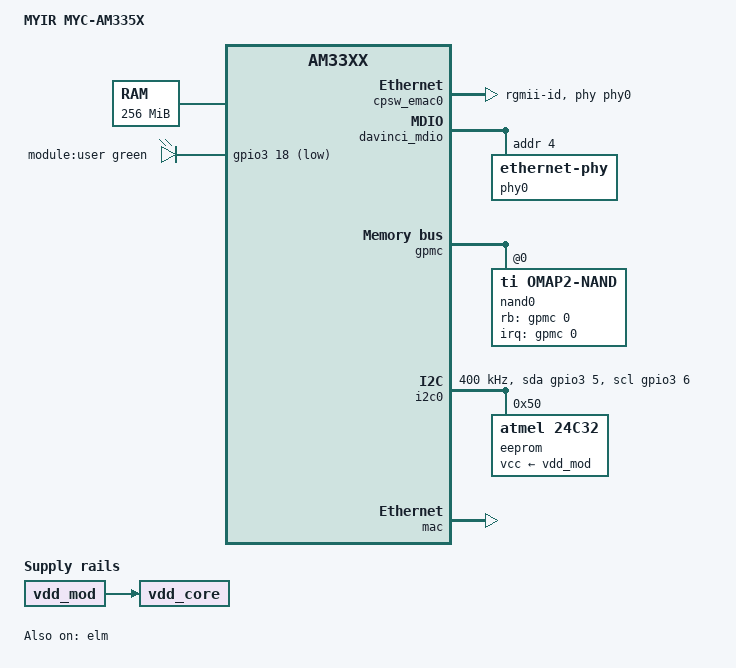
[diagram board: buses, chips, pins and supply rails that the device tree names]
// SPDX-License-Identifier: GPL-2.0-or-later
/* SPDX-FileCopyrightText: Alexander Shiyan, <shc_work@mail.ru> */

/* Based on code by myc_c335x.dts, MYiRtech.com */
/* Copyright (C) 2012 Texas Instruments Incorporated - http://www.ti.com/ */

/dts-v1/;

#include "am33xx.dtsi"

#include <dt-bindings/interrupt-controller/irq.h>
#include <dt-bindings/leds/common.h>

/ {
	model = "MYIR MYC-AM335X";
	compatible = "myir,myc-am335x", "ti,am33xx";

	cpus {
		cpu@0 {
			cpu0-supply = <&vdd_core>;
			voltage-tolerance = <2>;
		};
	};

	memory@80000000 {
		device_type = "memory";
		reg = <0x80000000 0x10000000>;
	};

	vdd_mod: vdd_mod_reg {
		compatible = "regulator-fixed";
		regulator-name = "vdd-mod";
		regulator-always-on;
		regulator-boot-on;
	};

	vdd_core: vdd_core_reg {
		compatible = "regulator-fixed";
		regulator-name = "vdd-core";
		regulator-always-on;
		regulator-boot-on;
		vin-supply = <&vdd_mod>;
	};

	leds: leds {
		compatible = "gpio-leds";
		pinctrl-names = "default";
		pinctrl-0 = <&led_mod_pins>;

		led_mod: led_mod {
			label = "module:user";
			gpios = <&gpio3 18 GPIO_ACTIVE_LOW>;
			color = <LED_COLOR_ID_GREEN>;
			default-state = "off";
			panic-indicator;
		};
	};
};

&cpsw_emac0 {
	phy-handle = <&phy0>;
	phy-mode = "rgmii-id";
};

&davinci_mdio {
	pinctrl-names = "default", "sleep";
	pinctrl-0 = <&mdio_pins_default>;
	pinctrl-1 = <&mdio_pins_sleep>;
	status = "okay";

	phy0: ethernet-phy@4 {
		reg = <4>;
	};
};

&elm {
	status = "okay";
};

&gpmc {
	pinctrl-names = "default", "sleep";
	pinctrl-0 = <&nand_pins_default>;
	pinctrl-1 = <&nand_pins_sleep>;
	ranges = <0 0 0x8000000 0x1000000>;
	status = "okay";

	nand0: nand@0,0 {
		compatible = "ti,omap2-nand";
		reg = <0 0 4>;
		interrupt-parent = <&gpmc>;
		interrupts = <0 IRQ_TYPE_NONE>, <1 IRQ_TYPE_NONE>;
		nand-bus-width = <8>;
		rb-gpios = <&gpmc 0 GPIO_ACTIVE_HIGH>;
		gpmc,device-width = <1>;
		gpmc,sync-clk-ps = <0>;
		gpmc,cs-on-ns = <0>;
		gpmc,cs-rd-off-ns = <44>;
		gpmc,cs-wr-off-ns = <44>;
		gpmc,adv-on-ns = <6>;
		gpmc,adv-rd-off-ns = <34>;
		gpmc,adv-wr-off-ns = <44>;
		gpmc,we-on-ns = <0>;
		gpmc,we-off-ns = <40>;
		gpmc,oe-on-ns = <0>;
		gpmc,oe-off-ns = <54>;
		gpmc,access-ns = <64>;
		gpmc,rd-cycle-ns = <82>;
		gpmc,wr-cycle-ns = <82>;
		gpmc,bus-turnaround-ns = <0>;
		gpmc,cycle2cycle-delay-ns = <0>;
		gpmc,clk-activation-ns = <0>;
		gpmc,wr-access-ns = <40>;
		gpmc,wr-data-mux-bus-ns = <0>;
		ti,elm-id = <&elm>;
		ti,nand-ecc-opt = "bch8";

		#address-cells = <1>;
		#size-cells = <1>;
	};
};

&i2c0 {
	pinctrl-names = "default", "gpio", "sleep";
	pinctrl-0 = <&i2c0_pins_default>;
	pinctrl-1 = <&i2c0_pins_gpio>;
	pinctrl-2 = <&i2c0_pins_sleep>;
	clock-frequency = <400000>;
	scl-gpios = <&gpio3 6 (GPIO_ACTIVE_HIGH | GPIO_OPEN_DRAIN)>;
	sda-gpios = <&gpio3 5 (GPIO_ACTIVE_HIGH | GPIO_OPEN_DRAIN)>;
	status = "okay";

	eeprom: eeprom@50 {
		compatible = "atmel,24c32";
		reg = <0x50>;
		pagesize = <32>;
		vcc-supply = <&vdd_mod>;
	};
};

&mac {
	pinctrl-names = "default", "sleep";
	pinctrl-0 = <&eth_slave1_pins_default>;
	pinctrl-1 = <&eth_slave1_pins_sleep>;
	slaves = <1>;
	status = "okay";
};

&rtc {
	system-power-controller;
};

&am33xx_pinmux {
	mdio_pins_default: pinmux_mdio_pins_default {
		pinctrl-single,pins = <
			AM33XX_PADCONF(AM335X_PIN_MDIO, PIN_INPUT_PULLUP | SLEWCTRL_FAST, MUX_MODE0)	/* mdio_data */
			AM33XX_PADCONF(AM335X_PIN_MDC, PIN_OUTPUT_PULLUP, MUX_MODE0)			/* mdio_clk */
		>;
	};

	mdio_pins_sleep: pinmux_mdio_pins_sleep {
		pinctrl-single,pins = <
			AM33XX_PADCONF(AM335X_PIN_MDIO, PIN_INPUT_PULLDOWN, MUX_MODE7)
			AM33XX_PADCONF(AM335X_PIN_MDC, PIN_INPUT_PULLDOWN, MUX_MODE7)
		>;
	};

	eth_slave1_pins_default: pinmux_eth_slave1_pins_default {
		pinctrl-single,pins = <
			AM33XX_PADCONF(AM335X_PIN_MII1_TX_EN, PIN_OUTPUT_PULLDOWN, MUX_MODE2)		/* rgmii1_tctl */
			AM33XX_PADCONF(AM335X_PIN_MII1_RX_DV, PIN_INPUT_PULLDOWN, MUX_MODE2)		/* rgmii1_rctl */
			AM33XX_PADCONF(AM335X_PIN_MII1_TXD3, PIN_OUTPUT_PULLDOWN, MUX_MODE2)		/* rgmii1_td3 */
			AM33XX_PADCONF(AM335X_PIN_MII1_TXD2, PIN_OUTPUT_PULLDOWN, MUX_MODE2)		/* rgmii1_td2 */
			AM33XX_PADCONF(AM335X_PIN_MII1_TXD1, PIN_OUTPUT_PULLDOWN, MUX_MODE2)		/* rgmii1_td1 */
			AM33XX_PADCONF(AM335X_PIN_MII1_TXD0, PIN_OUTPUT_PULLDOWN, MUX_MODE2)		/* rgmii1_td0 */
			AM33XX_PADCONF(AM335X_PIN_MII1_TX_CLK, PIN_OUTPUT_PULLDOWN, MUX_MODE2)		/* rgmii1_tclk */
			AM33XX_PADCONF(AM335X_PIN_MII1_RX_CLK, PIN_INPUT_PULLDOWN, MUX_MODE2)		/* rgmii1_rclk */
			AM33XX_PADCONF(AM335X_PIN_MII1_RXD3, PIN_INPUT_PULLDOWN, MUX_MODE2)		/* rgmii1_rd3 */
			AM33XX_PADCONF(AM335X_PIN_MII1_RXD2, PIN_INPUT_PULLDOWN, MUX_MODE2)		/* rgmii1_rd2 */
			AM33XX_PADCONF(AM335X_PIN_MII1_RXD1, PIN_INPUT_PULLDOWN, MUX_MODE2)		/* rgmii1_rd1 */
			AM33XX_PADCONF(AM335X_PIN_MII1_RXD0, PIN_INPUT_PULLDOWN, MUX_MODE2)		/* rgmii1_rd0 */
		>;
	};

	eth_slave1_pins_sleep: pinmux_eth_slave1_pins_sleep {
		pinctrl-single,pins = <
			AM33XX_PADCONF(AM335X_PIN_MII1_TX_EN, PIN_INPUT_PULLDOWN, MUX_MODE7)
			AM33XX_PADCONF(AM335X_PIN_MII1_RX_DV, PIN_INPUT_PULLDOWN, MUX_MODE7)
			AM33XX_PADCONF(AM335X_PIN_MII1_TXD3, PIN_INPUT_PULLDOWN, MUX_MODE7)
			AM33XX_PADCONF(AM335X_PIN_MII1_TXD2, PIN_INPUT_PULLDOWN, MUX_MODE7)
			AM33XX_PADCONF(AM335X_PIN_MII1_TXD1, PIN_INPUT_PULLDOWN, MUX_MODE7)
			AM33XX_PADCONF(AM335X_PIN_MII1_TXD0, PIN_INPUT_PULLDOWN, MUX_MODE7)
			AM33XX_PADCONF(AM335X_PIN_MII1_TX_CLK, PIN_INPUT_PULLDOWN, MUX_MODE7)
			AM33XX_PADCONF(AM335X_PIN_MII1_RX_CLK, PIN_INPUT_PULLDOWN, MUX_MODE7)
			AM33XX_PADCONF(AM335X_PIN_MII1_RXD3, PIN_INPUT_PULLDOWN, MUX_MODE7)
			AM33XX_PADCONF(AM335X_PIN_MII1_RXD2, PIN_INPUT_PULLDOWN, MUX_MODE7)
			AM33XX_PADCONF(AM335X_PIN_MII1_RXD1, PIN_INPUT_PULLDOWN, MUX_MODE7)
			AM33XX_PADCONF(AM335X_PIN_MII1_RXD0, PIN_INPUT_PULLDOWN, MUX_MODE7)
		>;
	};

	i2c0_pins_default: pinmux_i2c0_pins_default {
		pinctrl-single,pins = <
			AM33XX_PADCONF(AM335X_PIN_I2C0_SDA, PIN_INPUT | SLEWCTRL_FAST, MUX_MODE0)	/* I2C0_SDA */
			AM33XX_PADCONF(AM335X_PIN_I2C0_SCL, PIN_INPUT | SLEWCTRL_FAST, MUX_MODE0)	/* I2C0_SCL */
		>;
	};

	i2c0_pins_gpio: pinmux_i2c0_pins_gpio {
		pinctrl-single,pins = <
			AM33XX_PADCONF(AM335X_PIN_I2C0_SDA, PIN_INPUT, MUX_MODE7)			/* gpio3[5] */
			AM33XX_PADCONF(AM335X_PIN_I2C0_SCL, PIN_INPUT, MUX_MODE7)			/* gpio3[6] */
		>;
	};

	i2c0_pins_sleep: pinmux_i2c0_pins_sleep {
		pinctrl-single,pins = <
			AM33XX_PADCONF(AM335X_PIN_I2C0_SDA, PIN_INPUT_PULLDOWN, MUX_MODE7)
			AM33XX_PADCONF(AM335X_PIN_I2C0_SCL, PIN_INPUT_PULLDOWN, MUX_MODE7)
		>;
	};

	led_mod_pins: pinmux_led_mod_pins {
		pinctrl-single,pins = <
			AM33XX_PADCONF(AM335X_PIN_MCASP0_ACLKR, PIN_OUTPUT_PULLDOWN, MUX_MODE7)		/* gpio3[18] */
		>;
	};

	nand_pins_default: pinmux_nand_pins_default {
		pinctrl-single,pins = <
			AM33XX_PADCONF(AM335X_PIN_GPMC_AD0, PIN_INPUT_PULLUP, MUX_MODE0)		/* gpmc_ad0 */
			AM33XX_PADCONF(AM335X_PIN_GPMC_AD1, PIN_INPUT_PULLUP, MUX_MODE0)		/* gpmc_ad1 */
			AM33XX_PADCONF(AM335X_PIN_GPMC_AD2, PIN_INPUT_PULLUP, MUX_MODE0)		/* gpmc_ad2 */
			AM33XX_PADCONF(AM335X_PIN_GPMC_AD3, PIN_INPUT_PULLUP, MUX_MODE0)		/* gpmc_ad3 */
			AM33XX_PADCONF(AM335X_PIN_GPMC_AD4, PIN_INPUT_PULLUP, MUX_MODE0)		/* gpmc_ad4 */
			AM33XX_PADCONF(AM335X_PIN_GPMC_AD5, PIN_INPUT_PULLUP, MUX_MODE0)		/* gpmc_ad5 */
			AM33XX_PADCONF(AM335X_PIN_GPMC_AD6, PIN_INPUT_PULLUP, MUX_MODE0)		/* gpmc_ad6 */
			AM33XX_PADCONF(AM335X_PIN_GPMC_AD7, PIN_INPUT_PULLUP, MUX_MODE0)		/* gpmc_ad7 */
			AM33XX_PADCONF(AM335X_PIN_GPMC_WAIT0, PIN_INPUT_PULLUP, MUX_MODE0)		/* gpmc_wait0 */
			AM33XX_PADCONF(AM335X_PIN_GPMC_WPN, PIN_INPUT_PULLUP, MUX_MODE7)		/* gpio0[31] */
			AM33XX_PADCONF(AM335X_PIN_GPMC_CSN0, PIN_OUTPUT, MUX_MODE0)			/* gpmc_csn0 */
			AM33XX_PADCONF(AM335X_PIN_GPMC_ADVN_ALE, PIN_OUTPUT, MUX_MODE0)			/* gpmc_advn_ale */
			AM33XX_PADCONF(AM335X_PIN_GPMC_OEN_REN, PIN_OUTPUT, MUX_MODE0)			/* gpmc_oen_ren */
			AM33XX_PADCONF(AM335X_PIN_GPMC_WEN, PIN_OUTPUT, MUX_MODE0)			/* gpmc_wen */
			AM33XX_PADCONF(AM335X_PIN_GPMC_BEN0_CLE, PIN_OUTPUT, MUX_MODE0)			/* gpmc_be0n_cle */
		>;
	};

	nand_pins_sleep: pinmux_nand_pins_sleep {
		pinctrl-single,pins = <
			AM33XX_PADCONF(AM335X_PIN_GPMC_AD0, PIN_INPUT_PULLDOWN, MUX_MODE7)
			AM33XX_PADCONF(AM335X_PIN_GPMC_AD1, PIN_INPUT_PULLDOWN, MUX_MODE7)
			AM33XX_PADCONF(AM335X_PIN_GPMC_AD2, PIN_INPUT_PULLDOWN, MUX_MODE7)
			AM33XX_PADCONF(AM335X_PIN_GPMC_AD3, PIN_INPUT_PULLDOWN, MUX_MODE7)
			AM33XX_PADCONF(AM335X_PIN_GPMC_AD4, PIN_INPUT_PULLDOWN, MUX_MODE7)
			AM33XX_PADCONF(AM335X_PIN_GPMC_AD5, PIN_INPUT_PULLDOWN, MUX_MODE7)
			AM33XX_PADCONF(AM335X_PIN_GPMC_AD6, PIN_INPUT_PULLDOWN, MUX_MODE7)
			AM33XX_PADCONF(AM335X_PIN_GPMC_AD7, PIN_INPUT_PULLDOWN, MUX_MODE7)
			AM33XX_PADCONF(AM335X_PIN_GPMC_WAIT0, PIN_INPUT_PULLDOWN, MUX_MODE7)
			AM33XX_PADCONF(AM335X_PIN_GPMC_WPN, PIN_INPUT_PULLDOWN, MUX_MODE7)
			AM33XX_PADCONF(AM335X_PIN_GPMC_CSN0, PIN_INPUT_PULLDOWN, MUX_MODE7)
			AM33XX_PADCONF(AM335X_PIN_GPMC_ADVN_ALE, PIN_INPUT_PULLDOWN, MUX_MODE7)
			AM33XX_PADCONF(AM335X_PIN_GPMC_OEN_REN, PIN_INPUT_PULLDOWN, MUX_MODE7)
			AM33XX_PADCONF(AM335X_PIN_GPMC_WEN, PIN_INPUT_PULLDOWN, MUX_MODE7)
			AM33XX_PADCONF(AM335X_PIN_GPMC_BEN0_CLE, PIN_INPUT_PULLDOWN, MUX_MODE7)
		>;
	};
};
